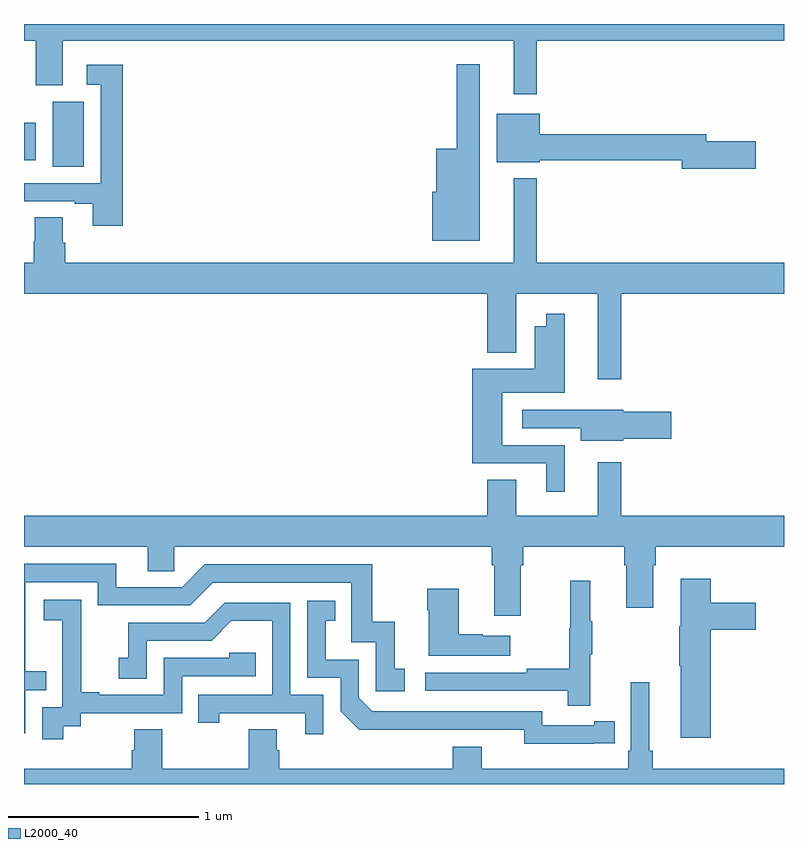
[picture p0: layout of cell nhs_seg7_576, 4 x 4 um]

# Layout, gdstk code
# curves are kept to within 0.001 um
import gdstk
lib = gdstk.Library(unit=1e-6, precision=1e-09)
def R(c, l, rs):  # rectangles x0, y0, x1, y1
    for r in rs: c.add(gdstk.rectangle(r[:2], r[2:], *l))
def P(c, l, *ps):  # polygons
    for p in ps: c.add(gdstk.Polygon(p, *l))
L2000_40 = (2000, 40)

nhs_seg7_576 = lib.new_cell('nhs_seg7_576')
R(nhs_seg7_576, L2000_40, [(155.15,1037.248,155.314,1037.592), (155,1037.283,155.062,1037.479)])
P(nhs_seg7_576, L2000_40, [(157.699,1037.912),(159,1037.912),(159,1038),(155,1038),(155,1037.912),(155.063,1037.912),(155.063,1037.677),(155.203,1037.677),(155.203,1037.912),(157.577,1037.912),(157.577,1037.631),(157.699,1037.631)],
  [(157.399,1037.788),(157.278,1037.788),(157.278,1037.344),(157.169,1037.344),(157.169,1037.118),(157.148,1037.118),(157.148,1036.859),(157.399,1036.859)],
  [(155.519,1037.785),(155.331,1037.785),(155.331,1037.679),(155.403,1037.679),(155.403,1037.163),(155,1037.163),(155,1037.067),(155.267,1037.067),(155.267,1037.055),(155.363,1037.055),(155.363,1036.938),(155.519,1036.938)],
  [(158.851,1037.384),(158.59,1037.384),(158.59,1037.42),(157.714,1037.42),(157.714,1037.527),(157.487,1037.527),(157.487,1037.273),(157.714,1037.273),(157.714,1037.284),(158.462,1037.284),(158.462,1037.237),(158.851,1037.237)],
  [(158.143,1036.58),(159,1036.58),(159,1036.744),(157.699,1036.744),(157.699,1037.188),(157.577,1037.188),(157.577,1036.744),(155.216,1036.744),(155.216,1036.85),(155.203,1036.85),(155.203,1036.982),(155.056,1036.982),(155.056,1036.857),(155.051,1036.857),(155.051,1036.744),(155,1036.744),(155,1036.58),(157.439,1036.58),(157.439,1036.271),(157.591,1036.271),(157.591,1036.58),(158.021,1036.58),(158.021,1036.131),(158.143,1036.131)],
  [(157.846,1035.783),(157.516,1035.783),(157.516,1036.058),(157.845,1036.058),(157.845,1036.474),(157.748,1036.474),(157.748,1036.408),(157.688,1036.408),(157.688,1036.186),(157.358,1036.186),(157.358,1035.687),(157.748,1035.687),(157.748,1035.537),(157.846,1035.537)],
  [(158.154,1035.817),(158.407,1035.817),(158.407,1035.959),(158.154,1035.959),(158.154,1035.97),(157.935,1035.97),(157.935,1035.969),(157.623,1035.969),(157.623,1035.873),(157.931,1035.873),(157.931,1035.806),(158.154,1035.806)],
  [(157.615,1035.152),(157.628,1035.152),(157.628,1035.248),(158.159,1035.248),(158.159,1035.152),(158.171,1035.152),(158.171,1034.928),(158.311,1034.928),(158.311,1035.152),(158.324,1035.152),(158.324,1035.248),(159,1035.248),(159,1035.412),(158.143,1035.412),(158.143,1035.694),(158.021,1035.694),(158.021,1035.412),(157.591,1035.412),(157.591,1035.602),(157.439,1035.602),(157.439,1035.412),(155,1035.412),(155,1035.248),(155.651,1035.248),(155.651,1035.121),(155.79,1035.121),(155.79,1035.248),(157.463,1035.248),(157.463,1035.152),(157.475,1035.152),(157.475,1034.886),(157.615,1034.886)],
  [(155.007,1034.493),(155.117,1034.493),(155.117,1034.594),(155.007,1034.594),(155.007,1035.063),(155.388,1035.063),(155.388,1034.94),(155.874,1034.94),(155.994,1035.06),(156.723,1035.06),(156.723,1034.745),(156.852,1034.745),(156.852,1034.487),(157.003,1034.487),(157.003,1034.607),(156.95,1034.607),(156.95,1034.853),(156.832,1034.853),(156.832,1035.156),(155.952,1035.156),(155.832,1035.036),(155.485,1035.036),(155.485,1035.159),(155,1035.159),(155,1034.268),(155.007,1034.268)],
  [(158.615,1034.813),(158.851,1034.813),(158.851,1034.955),(158.615,1034.955),(158.615,1035.079),(158.456,1035.079),(158.456,1034.829),(158.449,1034.829),(158.449,1034.623),(158.456,1034.623),(158.456,1034.244),(158.615,1034.244)],
  [(157.979,1034.683),(157.99,1034.683),(157.99,1034.857),(157.979,1034.857),(157.979,1035.07),(157.876,1035.07),(157.876,1034.82),(157.869,1034.82),(157.869,1034.606),(157.645,1034.606),(157.645,1034.586),(157.113,1034.586),(157.113,1034.49),(157.861,1034.49),(157.861,1034.412),(157.979,1034.412)],
  [(157.558,1034.779),(157.415,1034.779),(157.415,1034.789),(157.288,1034.789),(157.288,1035.028),(157.123,1035.028),(157.123,1034.915),(157.13,1034.915),(157.13,1034.675),(157.558,1034.675)],
  [(155.206,1034.305),(155.298,1034.305),(155.298,1034.373),(155.832,1034.373),(155.832,1034.568),(156.221,1034.568),(156.221,1034.691),(156.081,1034.691),(156.081,1034.664),(155.736,1034.664),(155.736,1034.469),(155.395,1034.469),(155.395,1034.482),(155.3,1034.482),(155.3,1034.765),(155.301,1034.765),(155.301,1034.971),(155.103,1034.971),(155.103,1034.861),(155.201,1034.861),(155.201,1034.632),(155.202,1034.632),(155.202,1034.403),(155.097,1034.403),(155.097,1034.235),(155.206,1034.235)],
  [(158,1034.214),(158.108,1034.214),(158.108,1034.33),(158,1034.33),(158,1034.31),(157.728,1034.31),(157.728,1034.382),(156.834,1034.382),(156.762,1034.454),(156.762,1034.655),(156.589,1034.655),(156.589,1034.859),(156.638,1034.859),(156.638,1034.965),(156.492,1034.965),(156.492,1034.559),(156.666,1034.559),(156.666,1034.382),(156.764,1034.285),(157.632,1034.286),(157.632,1034.213)],
  [(156.576,1034.469),(156.402,1034.469),(156.402,1034.955),(156.056,1034.955),(155.951,1034.85),(155.548,1034.85),(155.548,1034.665),(155.499,1034.665),(155.499,1034.555),(155.646,1034.555),(155.646,1034.754),(155.988,1034.754),(156.092,1034.858),(156.306,1034.858),(156.306,1034.469),(155.917,1034.469),(155.917,1034.322),(156.028,1034.322),(156.028,1034.373),(156.479,1034.373),(156.479,1034.262),(156.576,1034.262)],
  [(159,1034.08),(158.309,1034.08),(158.309,1034.176),(158.29,1034.176),(158.29,1034.536),(158.193,1034.536),(158.193,1034.176),(158.18,1034.176),(158.18,1034.08),(157.408,1034.08),(157.408,1034.197),(157.256,1034.197),(157.256,1034.08),(156.344,1034.08),(156.344,1034.178),(156.331,1034.178),(156.331,1034.288),(156.184,1034.288),(156.184,1034.08),(155.727,1034.08),(155.727,1034.288),(155.579,1034.288),(155.579,1034.178),(155.567,1034.178),(155.567,1034.08),(155,1034.08),(155,1034),(159,1034)])

lib.write_gds('nhs_seg7_576.gds')
